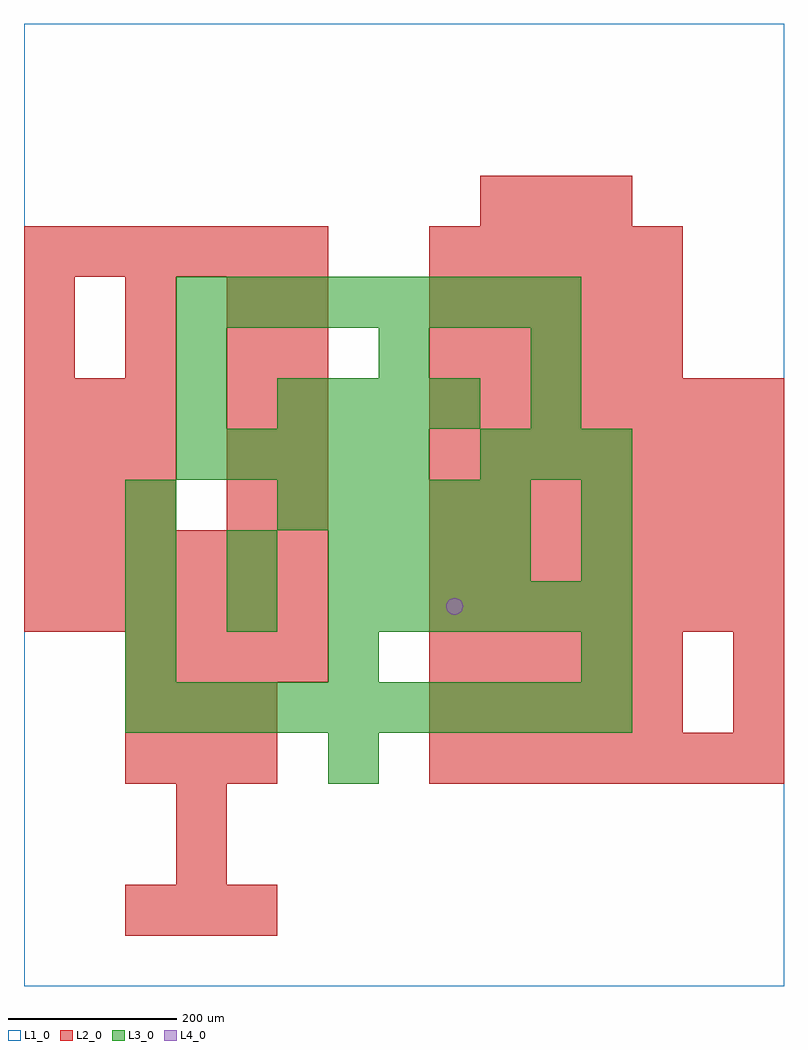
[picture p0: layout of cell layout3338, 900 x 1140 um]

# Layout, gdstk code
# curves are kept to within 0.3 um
import gdstk
lib = gdstk.Library(unit=1e-6, precision=1e-09)
def R(c, l, rs):  # rectangles x0, y0, x1, y1
    for r in rs: c.add(gdstk.rectangle(r[:2], r[2:], *l))
def A(c, l, x, y, w, h, nx, ny, dx, dy):  # array of equal rectangles
    R(c, l, [(x+i*dx, y+j*dy, x+i*dx+w, y+j*dy+h) for i in range(nx) for j in range(ny)])
def P(c, l, *ps):  # polygons
    for p in ps: c.add(gdstk.Polygon(p, *l))
L1_0 = (1, 0)
L2_0 = (2, 0)
L3_0 = (3, 0)
L4_0 = (4, 0)

layout3338 = lib.new_cell('layout3338')
R(layout3338, L1_0, [(0,0,900,1140)])
A(layout3338, L2_0, 120, 60, 60, 60, 3, 2, 60, 180)
A(layout3338, L2_0, 480, 240, 60, 60, 7, 2, 60, 180)
A(layout3338, L2_0, 120, 300, 60, 60, 3, 1, 60, 0)
A(layout3338, L2_0, 480, 300, 60, 60, 5, 2, 60, 60)
A(layout3338, L2_0, 120, 360, 60, 60, 4, 1, 60, 0)
A(layout3338, L2_0, 0, 420, 60, 60, 6, 2, 60, 60)
A(layout3338, L2_0, 480, 480, 60, 60, 7, 4, 60, 60)
A(layout3338, L2_0, 0, 540, 60, 60, 3, 3, 60, 60)
A(layout3338, L2_0, 240, 540, 60, 60, 1, 3, 0, 60)
A(layout3338, L2_0, 300, 540, 60, 60, 1, 5, 0, 60)
A(layout3338, L2_0, 0, 720, 60, 60, 3, 2, 120, 60)
A(layout3338, L2_0, 480, 720, 60, 60, 5, 3, 60, 60)
A(layout3338, L2_0, 0, 840, 60, 60, 6, 1, 60, 0)
A(layout3338, L2_0, 540, 900, 60, 60, 3, 1, 60, 0)
R(layout3338, L2_0, [(180,120,240,180), (180,180,240,240), (840,300,900,360), (840,360,900,420)])
A(layout3338, L3_0, 120, 300, 60, 60, 10, 1, 60, 0)
A(layout3338, L3_0, 120, 420, 60, 60, 3, 2, 120, 60)
A(layout3338, L3_0, 420, 420, 60, 60, 5, 1, 60, 0)
A(layout3338, L3_0, 420, 480, 60, 60, 3, 1, 60, 0)
A(layout3338, L3_0, 300, 540, 60, 60, 5, 1, 60, 0)
A(layout3338, L3_0, 180, 600, 60, 60, 5, 1, 60, 0)
A(layout3338, L3_0, 540, 600, 60, 60, 3, 1, 60, 0)
A(layout3338, L3_0, 300, 660, 60, 60, 4, 1, 60, 0)
A(layout3338, L3_0, 180, 780, 60, 60, 8, 1, 60, 0)
R(layout3338, L3_0, [(360,240,420,300), (120,360,180,420), (360,360,420,420), (660,360,720,420), (660,480,720,540), (120,540,180,600), (660,540,720,600), (180,660,240,720), (600,660,660,720), (180,720,240,780), (420,720,480,780), (600,720,660,780)])
P(layout3338, L4_0, [(520,450),(519.239,453.827),(517.071,457.071),(513.827,459.239),(510,460),(506.173,459.239),(502.929,457.071),(500.761,453.827),(500,450),(500.761,446.173),(502.929,442.929),(506.173,440.761),(510,440),(513.827,440.761),(517.071,442.929),(519.239,446.173)])

lib.write_gds('layout3338.gds')
